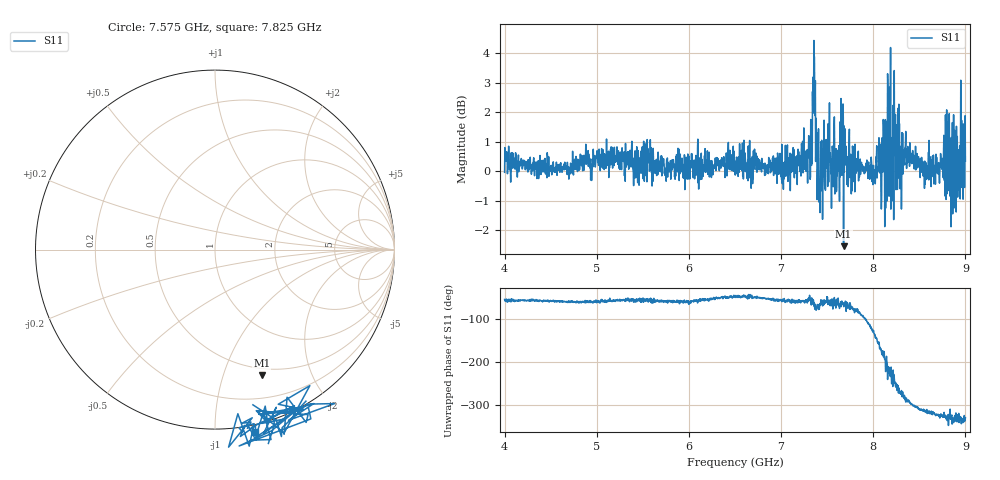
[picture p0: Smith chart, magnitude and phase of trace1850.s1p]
! Created with skrf 1.8.0 (http://scikit-rf.org).
# Hz S RI R 50.0
!freq ReS11 ImS11
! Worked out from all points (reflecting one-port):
!   1601 points, 4 GHz to 9 GHz, reference 50 ohm
!   lowest |S11| = -2.5 dB at 7.678 GHz (marker M1), VSWR 6.91, Z = 21.3 - j67.5 ohm
!   phase of S11 starts at -55 deg and turns -274 deg over the sweep
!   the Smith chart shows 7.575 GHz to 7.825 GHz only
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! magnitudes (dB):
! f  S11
! 4 GHz  0.0
! 4.625 GHz  0.0
! 5.25 GHz  0.1
! 5.875 GHz  0.0
! 6.5 GHz  0.0
! 7.125 GHz  0.0
! 7.312 GHz  1.2
! 7.347 GHz  3.2
! 7.362 GHz  3.9
! 7.381 GHz  1.6
! 7.4 GHz  0.3
! 7.412 GHz  -1.0
! 7.509 GHz  0.4
! 7.609 GHz  -0.2
! 7.65 GHz  2.5
! 7.678 GHz  -2.5
! 7.75 GHz  0.0
! 8.109 GHz  1.8
! 8.162 GHz  1.1
! 8.197 GHz  0.6
! 8.253 GHz  0.5
! 8.316 GHz  0.1
! 8.375 GHz  0.8
! 8.566 GHz  -0.1
! 8.803 GHz  -0.8
! 8.856 GHz  0.2
! 8.972 GHz  0.0
! 9 GHz  0.3
